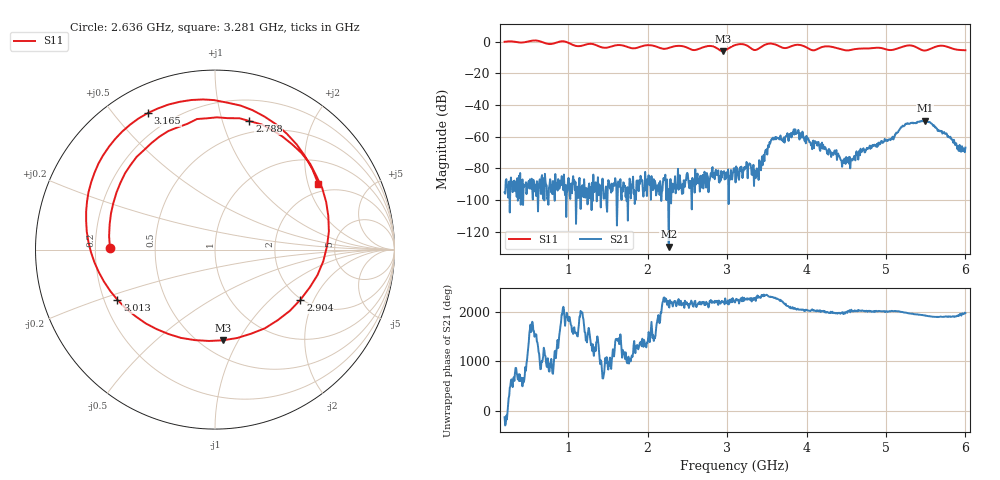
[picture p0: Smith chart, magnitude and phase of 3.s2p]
! NanoVNA-App by OneOfEleven et al v1.1.209 (+OD15)
! Date: 2024-07-30 15:20:40
! Start: 200MHz Stop: 6GHz Points: 801
! S-Parameter data: F S11 S21 S12 S22
# Hz S RI R 50
!  Frequency  S11_Real  S11_Imag  S21_Real  S21_Imag  S12_Real  S12_Imag  S22_Real  S22_Imag
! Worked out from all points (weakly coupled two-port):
!   801 points, 200 MHz to 6 GHz, reference 50 ohm
!   highest |S21| = -49.75 dB at 5.492 GHz (marker M1); lowest = -129.5 dB at 2.266 GHz (marker M2)
!   lowest |S11| = -5.9 dB at 2.948 GHz (marker M3), VSWR 3.06, Z = 31.7 - j43.2 ohm
!   |S11| at or under -10 dB: nowhere
!   S12 and S22 are empty: the file has one direction only
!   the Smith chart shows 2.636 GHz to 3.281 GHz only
!   S11 on the Smith chart (normalised r, x): 2.636 GHz: 0.26, +0.01; 2.788 GHz: 0.39, +1.23; 2.904 GHz: 1.97, -1.58; 3.013 GHz: 0.25, -0.23; 3.165 GHz: 0.11, +0.62; 3.281 GHz: 1.70, +2.33
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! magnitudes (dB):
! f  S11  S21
! 200 MHz  0.0  -95.1
! 1.171 GHz  -2.5  -91.5
! 2.136 GHz  -3.5  -91.8
! 2.266 GHz  -3.9  -129.5
! 2.636 GHz  -4.6  -89.4
! 2.788 GHz  -2.6  -85.3
! 2.904 GHz  -5.2  -89.0
! 2.948 GHz  -5.9  -82.3
! 3.013 GHz  -4.3  -80.6
! 3.1 GHz  -2.1  -79.9
! 3.165 GHz  -1.4  -79.3
! 3.281 GHz  -3.3  -76.8
! 3.405 GHz  -4.0  -74.8
! 3.593 GHz  -1.4  -61.6
! 3.869 GHz  -1.9  -58.2
! 4.072 GHz  -5.3  -67.8
! 4.463 GHz  -5.1  -75.5
! 5.036 GHz  -5.2  -61.8
! 5.239 GHz  -2.7  -52.8
! 5.492 GHz  -5.5  -49.8
! 5.696 GHz  -2.4  -56.6
! 6 GHz  -5.3  -66.9
